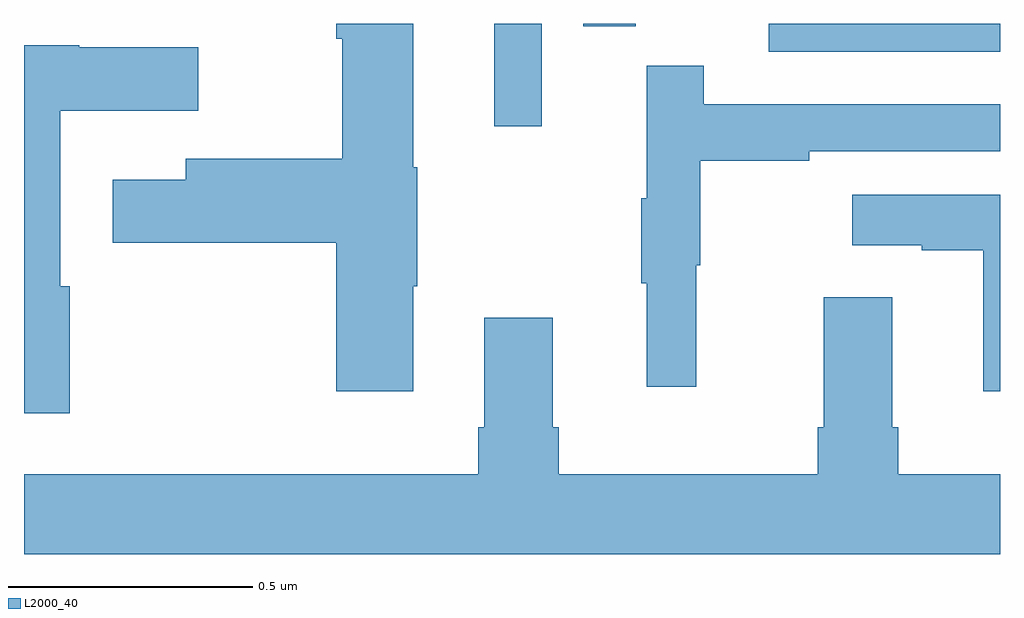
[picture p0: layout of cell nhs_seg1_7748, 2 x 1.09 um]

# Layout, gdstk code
import gdstk
lib = gdstk.Library(unit=1e-6, precision=1e-09)
def R(c, l, rs):  # rectangles x0, y0, x1, y1
    for r in rs: c.add(gdstk.rectangle(r[:2], r[2:], *l))
def P(c, l, *ps):  # polygons
    for p in ps: c.add(gdstk.Polygon(p, *l))
L2000_40 = (2000, 40)

nhs_seg1_7748 = lib.new_cell('nhs_seg1_7748')
R(nhs_seg1_7748, L2000_40, [(208.964,505.989,209.061,506.199), (209.526,506.142,210,506.199), (209.146,506.194,209.254,506.199)])
P(nhs_seg1_7748, L2000_40, [(208.798,505.661),(208.806,505.661),(208.806,505.905),(208.798,505.905),(208.798,506.199),(208.64,506.199),(208.64,506.168),(208.652,506.168),(208.652,505.922),(208.331,505.922),(208.331,505.879),(208.182,505.879),(208.182,505.75),(208.64,505.75),(208.64,505.446),(208.798,505.446)],
  [(208.094,505.661),(208.074,505.661),(208.074,506.021),(208.357,506.021),(208.357,506.151),(208.113,506.151),(208.113,506.155),(208,506.155),(208,505.401),(208.094,505.401)],
  [(209.378,505.704),(209.386,505.704),(209.386,505.918),(209.609,505.918),(209.609,505.938),(210,505.938),(210,506.034),(209.393,506.034),(209.393,506.113),(209.276,506.113),(209.276,505.841),(209.265,505.841),(209.265,505.667),(209.276,505.667),(209.276,505.455),(209.378,505.455)],
  [(210,505.849),(209.697,505.849),(209.697,505.745),(209.84,505.745),(209.84,505.735),(209.966,505.735),(209.966,505.446),(210,505.446)],
  [(210,505.276),(209.792,505.276),(209.792,505.372),(209.779,505.372),(209.779,505.639),(209.639,505.639),(209.639,505.372),(209.627,505.372),(209.627,505.276),(209.096,505.276),(209.096,505.372),(209.083,505.372),(209.083,505.597),(208.943,505.597),(208.943,505.372),(208.931,505.372),(208.931,505.276),(208,505.276),(208,505.112),(210,505.112)])

lib.write_gds('nhs_seg1_7748.gds')
